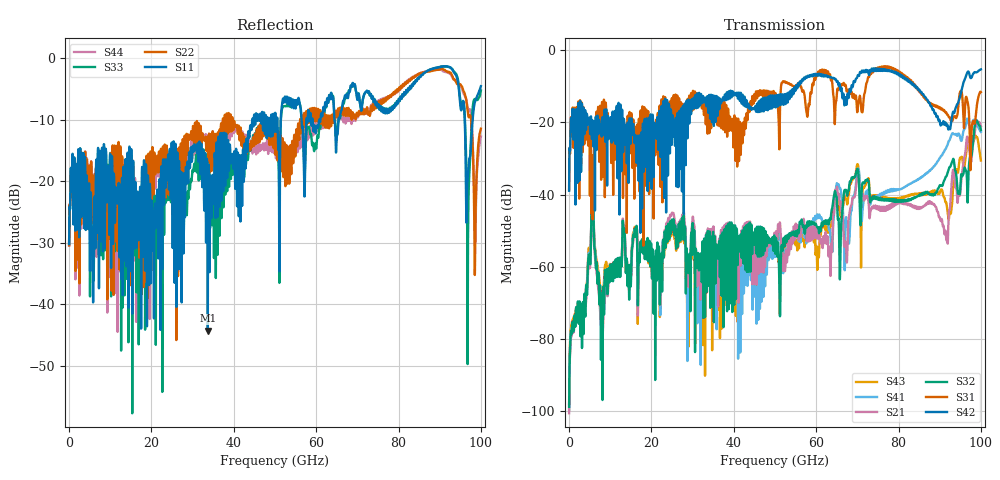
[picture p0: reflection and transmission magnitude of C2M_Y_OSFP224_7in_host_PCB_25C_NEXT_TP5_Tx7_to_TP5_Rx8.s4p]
# GHz S RI R 45
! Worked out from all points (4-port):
!   4000 points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, 25 MHz to 100 GHz, reference 45 ohm
!   strongest paths, dB at 25 MHz, 25.02 GHz, 50.02 GHz, 75.03 GHz, 100 GHz:
!     S42: -38.9, -22.2, -13.5, -5.3, -5.3
!     S31: -38.6, -13.7, -12.1, -4.9, -11.6
!     S32: -98.7, -47.2, -55.7, -41.0, -22.1
!     S21: -100.5, -45.0, -54.1, -44.0, -21.1
!     S41: -99.6, -47.7, -53.3, -40.4, -22.7
!     S43: -98.0, -50.3, -55.6, -40.3, -30.6
!   lowest |S11| = -44.3 dB at 33.7 GHz (marker M1), VSWR 1.01, Z = 45.3 - j0.454 ohm
!   |S11| at or under -10 dB: start of sweep to 44.49 GHz; 59.15 GHz to 60.73 GHz (1.575 GHz wide, 2.63 % of centre); 96.08 GHz to 98 GHz (1.927 GHz wide, 1.99 % of centre)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
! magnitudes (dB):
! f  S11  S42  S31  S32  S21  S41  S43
! 25 MHz  -30.2  -38.9  -38.6  -98.7  -100.5  -99.6  -98.0
! 5.775 GHz  -35.5  -20.8  -40.2  -38.1  -38.1  -38.0  -38.0
! 8.025 GHz  -14.6  -21.6  -14.4  -70.6  -81.5  -73.9  -69.5
! 13.25 GHz  -17.7  -20.3  -24.3  -49.9  -50.4  -50.7  -50.5
! 33.7 GHz  -44.3  -14.4  -21.4  -50.1  -49.5  -53.2  -53.3
! 91.58 GHz  -1.3  -20.9  -17.2  -35.0  -52.3  -27.0  -42.2
! 100 GHz  -4.6  -5.3  -11.6  -22.1  -21.1  -22.7  -30.6
